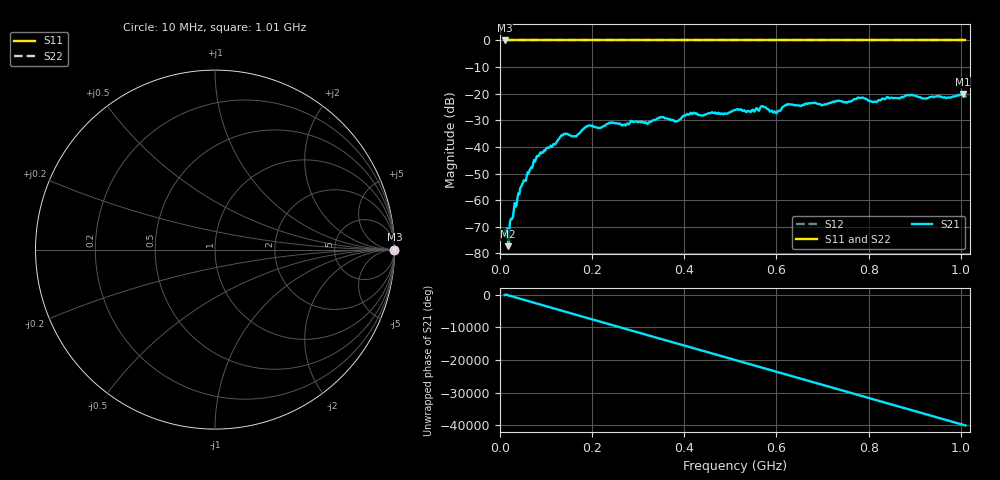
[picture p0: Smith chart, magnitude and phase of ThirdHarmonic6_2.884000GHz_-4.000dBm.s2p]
! 8/17/2025 7:55:08 AM
! C:\ANRITSUVNA\TEMP\TEMP.S2P
! CHANNEL.1
! TR.MEASUREMENT
! RAW.DATA
! RF.CORRECTION.OFF
! AVERAGING.OFF
! IF.BANDWIDTH: 5KHZ
! SWEEPTYPE:  FREQ.SWEEP(Linear)
! Reference Plane Port Info
! PORT:  PORT1  PORT2
! DISTANCE:  0  m  0  m
! TIME:  0  s  0  s
! PHASE.OFFSET:  0  deg.  0  deg.
! LOSS:  0  dB  0  dB
! REF.LOSS:  0  dB  0  dB
! REF.FREQ:  0  Hz  0  Hz
! Power Info
! POWER:  -20  dBm  -20  dBm
! EFF.POWER:  -20  dBm  -20  dBm
! SOURCE.ATTEN:  0  dB  0  dB
! TEST.ATTEN:  0  dB  0  dB
# GHZ S RI R 50.0
! FREQ.GHZ  S11RE  S11IM  S21RE  S21IM  S12RE  S12IM  S22RE  S22IM
!; PortSelection: Port_12
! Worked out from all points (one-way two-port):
!   501 points, 10 MHz to 1.01 GHz, reference 50 ohm
!   highest |S21| = -20.12 dB at 1.004 GHz (marker M1); lowest = -77.3 dB at 18 MHz (marker M2)
!   lowest |S11| = 0.0 dB at 10 MHz (marker M3)
!   |S11| at or under -10 dB: nowhere
!   |S22| runs from 0.0 to 0.0 dB; largest |S21 - S12| = 1.1
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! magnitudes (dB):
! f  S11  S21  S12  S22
! 10 MHz  0.0  -71.4  0.0  0.0
! 18 MHz  0.0  -77.3  0.0  0.0
! 48 MHz  0.0  -54.1  0.0  0.0
! 78 MHz  0.0  -44.6  0.0  0.0
! 136 MHz  0.0  -35.7  0.0  0.0
! 162 MHz  0.0  -36.0  0.0  0.0
! 178 MHz  0.0  -33.7  0.0  0.0
! 192 MHz  0.0  -32.0  0.0  0.0
! 322 MHz  0.0  -31.0  0.0  0.0
! 344 MHz  0.0  -29.3  0.0  0.0
! 384 MHz  0.0  -30.3  0.0  0.0
! 416 MHz  0.0  -27.5  0.0  0.0
! 510 MHz  0.0  -26.1  0.0  0.0
! 570 MHz  0.0  -24.7  0.0  0.0
! 596 MHz  0.0  -26.7  0.0  0.0
! 624 MHz  0.0  -23.9  0.0  0.0
! 678 MHz  0.0  -23.5  0.0  0.0
! 780 MHz  0.0  -21.6  0.0  0.0
! 814 MHz  0.0  -22.9  0.0  0.0
! 844 MHz  0.0  -21.6  0.0  0.0
! 1.004 GHz  0.0  -20.1  0.0  0.0
! 1.01 GHz  0.0  -21.0  0.0  0.0
